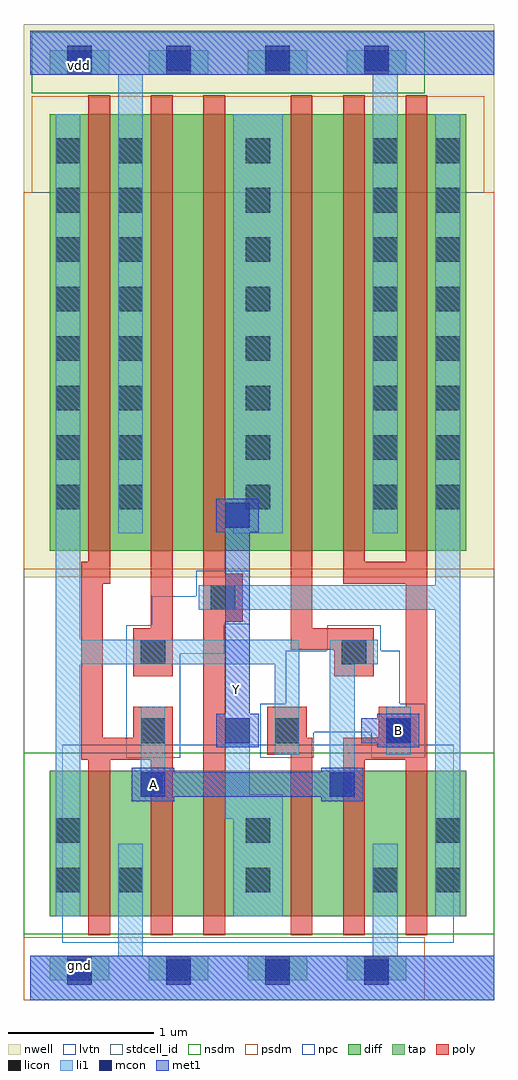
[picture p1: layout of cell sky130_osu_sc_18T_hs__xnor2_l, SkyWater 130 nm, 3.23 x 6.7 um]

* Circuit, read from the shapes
.subckt sky130_osu_sc_18T_hs__xnor2_l A B Y gnd vdd
XM1 gnd A n1 gnd sky130_fd_pr__nfet_01v8_lvt w=1 l=0.15
XM2 n2 A gnd gnd sky130_fd_pr__nfet_01v8_lvt w=1 l=0.15
XM3 Y n3 n2 gnd sky130_fd_pr__nfet_01v8_lvt w=1 l=0.15
XM4 n4 n1 Y gnd sky130_fd_pr__nfet_01v8_lvt w=1 l=0.15
XM5 gnd B n4 gnd sky130_fd_pr__nfet_01v8_lvt w=1 l=0.15
XM6 n3 B gnd gnd sky130_fd_pr__nfet_01v8_lvt w=1 l=0.15
XM7 vdd A n1 vdd sky130_fd_pr__pfet_01v8 w=3 l=0.15
XM8 n5 n1 vdd vdd sky130_fd_pr__pfet_01v8 w=3 l=0.15
XM9 Y n3 n5 vdd sky130_fd_pr__pfet_01v8 w=3 l=0.15
XM10 n6 A Y vdd sky130_fd_pr__pfet_01v8 w=3 l=0.15
XM11 vdd B n6 vdd sky130_fd_pr__pfet_01v8 w=3 l=0.15
XM12 n3 B vdd vdd sky130_fd_pr__pfet_01v8 w=3 l=0.15
.ends

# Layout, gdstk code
import gdstk
lib = gdstk.Library(unit=1e-6, precision=1e-09)
def R(c, l, rs):  # rectangles x0, y0, x1, y1
    for r in rs: c.add(gdstk.rectangle(r[:2], r[2:], *l))
nwell = (64, 20)
diff = (65, 20)
tap = (65, 44)
poly = (66, 20)
licon = (66, 44)
li1 = (67, 20)
mcon = (67, 44)
met1 = (68, 20)
stdcell_id = (81, 4)
nsdm = (93, 44)
psdm = (94, 20)
npc = (95, 20)
lvtn = (125, 44)

sky130_osu_sc_18t_hs__xn = lib.new_cell('sky130_osu_sc_18T_hs__xnor2_l')
R(sky130_osu_sc_18t_hs__xn, nwell, [(-0.045,2.905,3.19,6.705), (-0.045,2.905,3.19,6.705)])
R(sky130_osu_sc_18t_hs__xn, diff, [(0.135,0.575,2.995,1.575), (0.135,0.575,2.995,1.575), (0.135,3.085,2.995,6.085), (0.135,3.085,2.995,6.085)])
R(sky130_osu_sc_18t_hs__xn, tap, [(0.135,0.135,0.545,0.305), (0.135,0.135,0.545,0.305), (0.815,0.135,1.225,0.305), (0.815,0.135,1.225,0.305), (1.495,0.135,1.905,0.305), (1.495,0.135,1.905,0.305), (2.175,0.135,2.585,0.305), (2.175,0.135,2.585,0.305), (0.135,6.355,0.545,6.525), (0.135,6.355,0.545,6.525), (0.815,6.355,1.225,6.525), (0.815,6.355,1.225,6.525), (1.495,6.355,1.905,6.525), (1.495,6.355,1.905,6.525), (2.175,6.355,2.585,6.525), (2.175,6.355,2.585,6.525)])
R(sky130_osu_sc_18t_hs__xn, poly, [(0.4,0.445,0.55,1.65), (0.4,0.445,0.55,1.65), (0.83,0.445,0.98,1.65), (0.83,0.445,0.98,1.65), (1.19,0.445,1.34,2.6), (1.19,0.445,1.34,2.6), (1.79,0.445,1.94,1.685), (1.79,0.445,1.94,1.685), (2.15,0.445,2.3,1.65), (2.15,0.445,2.3,1.65), (2.58,0.445,2.73,1.65), (2.58,0.445,2.73,1.65), (0.35,1.65,0.98,1.8), (0.35,1.65,0.98,1.8), (2.15,1.65,2.73,1.8), (2.15,1.65,2.73,1.8), (1.63,1.685,1.94,1.8), (1.63,1.685,1.94,1.8), (0.35,1.8,0.5,2.86), (0.35,1.8,0.5,2.86), (0.71,1.8,0.98,2.015), (0.71,1.8,0.98,2.015), (1.63,1.8,1.9,2.015), (1.63,1.8,1.9,2.015), (2.395,1.8,2.73,2.015), (2.395,1.8,2.73,2.015), (2.58,2.015,2.73,2.86), (2.58,2.015,2.73,2.86), (0.71,2.225,0.98,2.555), (0.71,2.225,0.98,2.555), (2.09,2.225,2.36,2.405), (2.09,2.225,2.36,2.405), (1.79,2.405,2.36,2.555), (1.79,2.405,2.36,2.555), (0.83,2.555,0.98,6.215), (0.83,2.555,0.98,6.215), (1.79,2.555,1.94,6.215), (1.79,2.555,1.94,6.215), (1.19,2.6,1.46,2.93), (1.19,2.6,1.46,2.93), (0.35,2.86,0.55,3.01), (0.35,2.86,0.55,3.01), (2.15,2.86,2.73,3.01), (2.15,2.86,2.73,3.01), (1.19,2.93,1.34,6.215), (1.19,2.93,1.34,6.215), (0.4,3.01,0.55,6.215), (0.4,3.01,0.55,6.215), (2.15,3.01,2.3,6.215), (2.15,3.01,2.3,6.215), (2.58,3.01,2.73,6.215), (2.58,3.01,2.73,6.215)])
R(sky130_osu_sc_18t_hs__xn, licon, [(0.255,0.135,0.425,0.305), (0.255,0.135,0.425,0.305), (0.935,0.135,1.105,0.305), (0.935,0.135,1.105,0.305), (1.615,0.135,1.785,0.305), (1.615,0.135,1.785,0.305), (2.295,0.135,2.465,0.305), (2.295,0.135,2.465,0.305), (0.175,0.74,0.345,0.91), (0.175,0.74,0.345,0.91), (0.605,0.74,0.775,0.91), (0.605,0.74,0.775,0.91), (1.48,0.74,1.65,0.91), (1.48,0.74,1.65,0.91), (2.355,0.74,2.525,0.91), (2.355,0.74,2.525,0.91), (2.785,0.74,2.955,0.91), (2.785,0.74,2.955,0.91), (0.175,1.08,0.345,1.25), (0.175,1.08,0.345,1.25), (1.48,1.08,1.65,1.25), (1.48,1.08,1.65,1.25), (2.785,1.08,2.955,1.25), (2.785,1.08,2.955,1.25), (0.76,1.765,0.93,1.935), (0.76,1.765,0.93,1.935), (1.68,1.765,1.85,1.935), (1.68,1.765,1.85,1.935), (2.445,1.765,2.615,1.935), (2.445,1.765,2.615,1.935), (0.76,2.305,0.93,2.475), (0.76,2.305,0.93,2.475), (2.14,2.305,2.31,2.475), (2.14,2.305,2.31,2.475), (1.24,2.68,1.41,2.85), (1.24,2.68,1.41,2.85), (0.175,3.37,0.345,3.54), (0.175,3.37,0.345,3.54), (0.605,3.37,0.775,3.54), (0.605,3.37,0.775,3.54), (1.48,3.37,1.65,3.54), (1.48,3.37,1.65,3.54), (2.355,3.37,2.525,3.54), (2.355,3.37,2.525,3.54), (2.785,3.37,2.955,3.54), (2.785,3.37,2.955,3.54), (0.175,3.71,0.345,3.88), (0.175,3.71,0.345,3.88), (0.605,3.71,0.775,3.88), (0.605,3.71,0.775,3.88), (1.48,3.71,1.65,3.88), (1.48,3.71,1.65,3.88), (2.355,3.71,2.525,3.88), (2.355,3.71,2.525,3.88), (2.785,3.71,2.955,3.88), (2.785,3.71,2.955,3.88), (0.175,4.05,0.345,4.22), (0.175,4.05,0.345,4.22), (0.605,4.05,0.775,4.22), (0.605,4.05,0.775,4.22), (1.48,4.05,1.65,4.22), (1.48,4.05,1.65,4.22), (2.355,4.05,2.525,4.22), (2.355,4.05,2.525,4.22), (2.785,4.05,2.955,4.22), (2.785,4.05,2.955,4.22), (0.175,4.39,0.345,4.56), (0.175,4.39,0.345,4.56), (0.605,4.39,0.775,4.56), (0.605,4.39,0.775,4.56), (1.48,4.39,1.65,4.56), (1.48,4.39,1.65,4.56), (2.355,4.39,2.525,4.56), (2.355,4.39,2.525,4.56), (2.785,4.39,2.955,4.56), (2.785,4.39,2.955,4.56), (0.175,4.73,0.345,4.9), (0.175,4.73,0.345,4.9), (0.605,4.73,0.775,4.9), (0.605,4.73,0.775,4.9), (1.48,4.73,1.65,4.9), (1.48,4.73,1.65,4.9), (2.355,4.73,2.525,4.9), (2.355,4.73,2.525,4.9), (2.785,4.73,2.955,4.9), (2.785,4.73,2.955,4.9), (0.175,5.07,0.345,5.24), (0.175,5.07,0.345,5.24), (0.605,5.07,0.775,5.24), (0.605,5.07,0.775,5.24), (1.48,5.07,1.65,5.24), (1.48,5.07,1.65,5.24), (2.355,5.07,2.525,5.24), (2.355,5.07,2.525,5.24), (2.785,5.07,2.955,5.24), (2.785,5.07,2.955,5.24), (0.175,5.41,0.345,5.58), (0.175,5.41,0.345,5.58), (0.605,5.41,0.775,5.58), (0.605,5.41,0.775,5.58), (1.48,5.41,1.65,5.58), (1.48,5.41,1.65,5.58), (2.355,5.41,2.525,5.58), (2.355,5.41,2.525,5.58), (2.785,5.41,2.955,5.58), (2.785,5.41,2.955,5.58), (0.175,5.75,0.345,5.92), (0.175,5.75,0.345,5.92), (0.605,5.75,0.775,5.92), (0.605,5.75,0.775,5.92), (1.48,5.75,1.65,5.92), (1.48,5.75,1.65,5.92), (2.355,5.75,2.525,5.92), (2.355,5.75,2.525,5.92), (2.785,5.75,2.955,5.92), (2.785,5.75,2.955,5.92), (0.255,6.355,0.425,6.525), (0.255,6.355,0.425,6.525), (0.935,6.355,1.105,6.525), (0.935,6.355,1.105,6.525), (1.615,6.355,1.785,6.525), (1.615,6.355,1.785,6.525), (2.295,6.355,2.465,6.525), (2.295,6.355,2.465,6.525)])
R(sky130_osu_sc_18t_hs__xn, li1, [(0,0,3.19,0.305), (0,0,3.19,0.305), (0.605,0.305,0.775,1.075), (0.605,0.305,0.775,1.075), (2.355,0.305,2.525,1.075), (2.355,0.305,2.525,1.075), (0.175,0.575,0.345,2.305), (0.175,0.575,0.345,2.305), (1.395,0.575,1.735,1.245), (1.395,0.575,1.735,1.245), (2.785,0.575,2.955,2.68), (2.785,0.575,2.955,2.68), (1.34,1.245,1.735,1.415), (1.34,1.245,1.735,1.415), (0.76,1.395,0.93,2.015), (0.76,1.395,0.93,2.015), (2.06,1.395,2.23,2.305), (2.06,1.395,2.23,2.305), (1.34,1.415,1.51,1.935), (1.34,1.415,1.51,1.935), (1.68,1.685,1.85,2.305), (1.68,1.685,1.85,2.305), (2.445,1.685,2.615,2.015), (2.445,1.685,2.615,2.015), (0.175,2.305,1.85,2.475), (0.175,2.305,1.85,2.475), (2.06,2.305,2.39,2.475), (2.06,2.305,2.39,2.475), (0.175,2.475,0.345,6.085), (0.175,2.475,0.345,6.085), (1.16,2.68,2.955,2.85), (1.16,2.68,2.955,2.85), (2.785,2.85,2.955,6.085), (2.785,2.85,2.955,6.085), (0.605,3.205,0.775,6.355), (0.605,3.205,0.775,6.355), (1.395,3.205,1.735,3.245), (1.395,3.205,1.735,3.245), (2.355,3.205,2.525,6.355), (2.355,3.205,2.525,6.355), (1.34,3.245,1.735,3.445), (1.34,3.245,1.735,3.445), (1.395,3.445,1.735,6.085), (1.395,3.445,1.735,6.085), (0,6.355,3.19,6.66), (0,6.355,3.19,6.66)])
R(sky130_osu_sc_18t_hs__xn, mcon, [(0.255,0.105,0.425,0.275), (0.255,0.105,0.425,0.275), (0.935,0.105,1.105,0.275), (0.935,0.105,1.105,0.275), (1.615,0.105,1.785,0.275), (1.615,0.105,1.785,0.275), (2.295,0.105,2.465,0.275), (2.295,0.105,2.465,0.275), (0.76,1.395,0.93,1.565), (0.76,1.395,0.93,1.565), (2.06,1.395,2.23,1.565), (2.06,1.395,2.23,1.565), (1.34,1.765,1.51,1.935), (1.34,1.765,1.51,1.935), (2.445,1.765,2.615,1.935), (2.445,1.765,2.615,1.935), (1.34,3.245,1.51,3.415), (1.34,3.245,1.51,3.415), (0.255,6.385,0.425,6.555), (0.255,6.385,0.425,6.555), (0.935,6.385,1.105,6.555), (0.935,6.385,1.105,6.555), (1.615,6.385,1.785,6.555), (1.615,6.385,1.785,6.555), (2.295,6.385,2.465,6.555), (2.295,6.385,2.465,6.555)])
R(sky130_osu_sc_18t_hs__xn, met1, [(0,0,3.19,0.305), (0,0,3.19,0.305), (0.7,1.365,0.99,1.395), (0.7,1.365,0.99,1.395), (2,1.365,2.29,1.395), (2,1.365,2.29,1.395), (0.7,1.395,2.29,1.565), (0.7,1.395,2.29,1.565), (0.7,1.565,0.99,1.595), (0.7,1.565,0.99,1.595), (2,1.565,2.29,1.595), (2,1.565,2.29,1.595), (1.28,1.735,1.57,1.965), (1.28,1.735,1.57,1.965), (2.385,1.735,2.675,1.765), (2.385,1.735,2.675,1.765), (2.275,1.765,2.675,1.935), (2.275,1.765,2.675,1.935), (2.385,1.935,2.675,1.965), (2.385,1.935,2.675,1.965), (1.34,1.965,1.51,3.215), (1.34,1.965,1.51,3.215), (1.28,3.215,1.57,3.445), (1.28,3.215,1.57,3.445), (0,6.355,3.19,6.66), (0,6.355,3.19,6.66)])
R(sky130_osu_sc_18t_hs__xn, stdcell_id, [(-0.045,0,3.19,5.55), (-0.045,0,3.19,5.55)])
R(sky130_osu_sc_18t_hs__xn, nsdm, [(-0.045,0.45,3.19,1.7), (-0.045,0.45,3.19,1.7), (0.01,6.23,2.71,6.65), (0.01,6.23,2.71,6.65)])
R(sky130_osu_sc_18t_hs__xn, psdm, [(-0.045,0,2.71,0.43), (-0.045,0,2.71,0.43), (-0.045,2.96,3.19,5.55), (-0.045,2.96,3.19,5.55), (0.01,5.55,3.12,6.21), (0.01,5.55,3.12,6.21)])
R(sky130_osu_sc_18t_hs__xn, npc, [(0.66,1.665,1.03,2.38), (0.66,1.665,1.03,2.38), (1.58,1.665,1.95,1.84), (1.58,1.665,1.95,1.84), (2.345,1.665,2.715,1.84), (2.345,1.665,2.715,1.84), (1.58,1.84,2.715,2.035), (1.58,1.84,2.715,2.035), (1.755,2.035,2.54,2.4), (1.755,2.035,2.54,2.4), (0.66,2.38,1.335,2.575), (0.66,2.38,1.335,2.575), (2.04,2.4,2.41,2.575), (2.04,2.4,2.41,2.575), (0.835,2.575,1.335,2.58), (0.835,2.575,1.335,2.58), (0.835,2.58,1.51,2.775), (0.835,2.58,1.51,2.775), (1.14,2.775,1.51,2.95), (1.14,2.775,1.51,2.95)])
R(sky130_osu_sc_18t_hs__xn, lvtn, [(0.22,0.395,2.91,1.755), (0.22,0.395,2.91,1.755)])
sky130_osu_sc_18t_hs__xn.add(gdstk.Label('gnd', (0.34,0.24), layer=68, texttype=16))
sky130_osu_sc_18t_hs__xn.add(gdstk.Label('vdd', (0.34,6.42), layer=68, texttype=16))
sky130_osu_sc_18t_hs__xn.add(gdstk.Label('gnd', (0.34,0.24), layer=68, texttype=16))
sky130_osu_sc_18t_hs__xn.add(gdstk.Label('vdd', (0.34,6.42), layer=68, texttype=16))
sky130_osu_sc_18t_hs__xn.add(gdstk.Label('A', (0.85,1.48), layer=68, texttype=5))
sky130_osu_sc_18t_hs__xn.add(gdstk.Label('B', (2.53,1.85), layer=68, texttype=5))
sky130_osu_sc_18t_hs__xn.add(gdstk.Label('Y', (1.42,2.135), layer=68, texttype=5))
sky130_osu_sc_18t_hs__xn.add(gdstk.Label('A', (0.85,1.48), layer=68, texttype=5))
sky130_osu_sc_18t_hs__xn.add(gdstk.Label('B', (2.53,1.85), layer=68, texttype=5))
sky130_osu_sc_18t_hs__xn.add(gdstk.Label('Y', (1.42,2.135), layer=68, texttype=5))

lib.write_gds('sky130_osu_sc_18T_hs__xnor2_l.gds')
